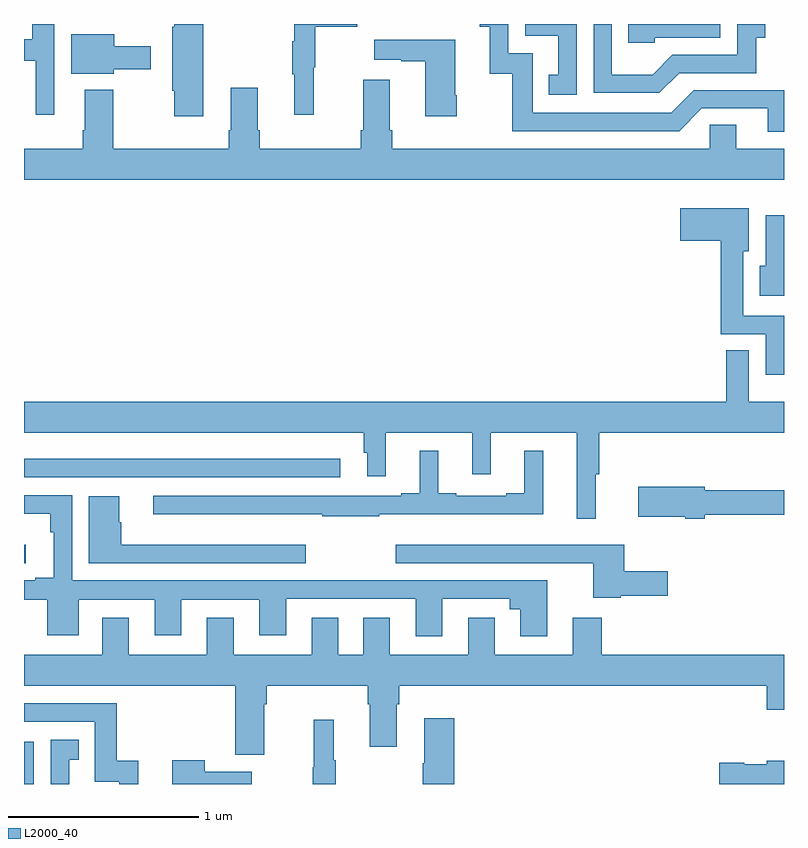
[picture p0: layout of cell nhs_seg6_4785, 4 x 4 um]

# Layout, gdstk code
import gdstk
lib = gdstk.Library(unit=1e-6, precision=1e-09)
def R(c, l, rs):  # rectangles x0, y0, x1, y1
    for r in rs: c.add(gdstk.rectangle(r[:2], r[2:], *l))
def P(c, l, *ps):  # polygons
    for p in ps: c.add(gdstk.Polygon(p, *l))
L2000_40 = (2000, 40)

nhs_seg6_4785 = lib.new_cell('nhs_seg6_4785')
R(nhs_seg6_4785, L2000_40, [(395,933.5,395.052,933.723), (395,934.662,395.008,934.759), (395,935.115,396.664,935.212)])
P(nhs_seg6_4785, L2000_40, [(396.524,937.272),(396.532,937.272),(396.532,937.486),(396.755,937.486),(396.755,937.5),(396.422,937.5),(396.422,937.409),(396.411,937.409),(396.411,937.235),(396.422,937.235),(396.422,937.023),(396.524,937.023)],
  [(395.16,937.5),(395.044,937.5),(395.044,937.42),(395,937.42),(395,937.307),(395.063,937.307),(395.063,937.023),(395.16,937.023)],
  [(398.319,937.428),(398.664,937.428),(398.664,937.5),(398.179,937.5),(398.179,937.401),(398.319,937.401)],
  [(397.908,937.5),(397.638,937.5),(397.638,937.437),(397.811,937.437),(397.811,937.233),(397.762,937.233),(397.762,937.128),(397.908,937.128)],
  [(395.944,937.5),(395.791,937.5),(395.791,937.485),(395.78,937.485),(395.78,937.149),(395.791,937.149),(395.791,937.014),(395.944,937.014)],
  [(399,937.152),(398.526,937.152),(398.406,937.032),(397.677,937.032),(397.677,937.347),(397.548,937.347),(397.548,937.5),(397.398,937.5),(397.398,937.485),(397.451,937.485),(397.451,937.239),(397.569,937.239),(397.569,936.936),(398.448,936.936),(398.568,937.056),(398.915,937.056),(398.915,936.933),(399,936.933)],
  [(398.449,937.242),(398.853,937.242),(398.853,937.427),(398.902,937.427),(398.902,937.5),(398.754,937.5),(398.754,937.338),(398.412,937.338),(398.308,937.234),(398.094,937.234),(398.094,937.5),(397.998,937.5),(397.998,937.137),(398.344,937.137)],
  [(395.472,937.262),(395.668,937.262),(395.668,937.384),(395.476,937.384),(395.476,937.447),(395.249,937.447),(395.249,937.238),(395.472,937.238)],
  [(397.278,937.126),(397.27,937.126),(397.27,937.417),(396.843,937.417),(396.843,937.313),(396.986,937.313),(396.986,937.303),(397.112,937.303),(397.112,937.014),(397.278,937.014)],
  [(399,936.844),(398.749,936.844),(398.749,936.971),(398.61,936.971),(398.61,936.844),(396.938,936.844),(396.938,936.94),(396.925,936.94),(396.925,937.207),(396.785,937.207),(396.785,936.94),(396.773,936.94),(396.773,936.844),(396.242,936.844),(396.242,936.94),(396.229,936.94),(396.229,937.165),(396.089,937.165),(396.089,936.94),(396.077,936.94),(396.077,936.844),(395.469,936.844),(395.469,937.153),(395.321,937.153),(395.321,936.94),(395.309,936.94),(395.309,936.844),(395,936.844),(395,936.68),(399,936.68)],
  [(399,935.964),(398.785,935.964),(398.785,936.305),(398.815,936.305),(398.815,936.529),(398.454,936.529),(398.454,936.359),(398.667,936.359),(398.667,935.868),(398.904,935.868),(398.904,935.654),(399,935.654)],
  [(399,936.494),(398.904,936.494),(398.904,936.228),(398.873,936.228),(398.873,936.069),(399,936.069)],
  [(398.01,935.13),(398.027,935.13),(398.027,935.348),(399,935.348),(399,935.512),(398.815,935.512),(398.815,935.783),(398.697,935.783),(398.697,935.512),(395,935.512),(395,935.348),(396.787,935.348),(396.787,935.243),(396.806,935.243),(396.806,935.121),(396.905,935.121),(396.905,935.348),(397.358,935.348),(397.358,935.13),(397.457,935.13),(397.457,935.348),(397.91,935.348),(397.91,934.896),(398.01,934.896)],
  [(396.869,934.919),(397.733,934.919),(397.733,935.254),(397.634,935.254),(397.634,935.029),(397.538,935.029),(397.538,935.016),(397.276,935.016),(397.276,935.029),(397.181,935.029),(397.181,935.254),(397.082,935.254),(397.082,935.029),(396.986,935.029),(396.986,935.016),(395.679,935.016),(395.679,934.919),(396.571,934.919),(396.571,934.908),(396.869,934.908)],
  [(398.584,934.918),(399,934.918),(399,935.047),(398.584,935.047),(398.584,935.065),(398.232,935.065),(398.232,934.907),(398.48,934.907),(398.48,934.895),(398.584,934.895)],
  [(397.201,934.476),(397.556,934.476),(397.556,934.421),(397.613,934.421),(397.613,934.278),(397.753,934.278),(397.753,934.572),(395.253,934.572),(395.253,935.019),(395,935.019),(395,934.922),(395.137,934.922),(395.137,934.826),(395.156,934.826),(395.156,934.585),(395.06,934.585),(395.06,934.572),(395,934.572),(395,934.471),(395.123,934.471),(395.123,934.284),(395.287,934.284),(395.287,934.471),(395.687,934.471),(395.687,934.284),(395.827,934.284),(395.827,934.471),(396.239,934.471),(396.239,934.284),(396.379,934.284),(396.379,934.476),(397.061,934.476),(397.061,934.278),(397.201,934.278)],
  [(396.484,934.759),(395.513,934.759),(395.513,934.878),(395.5,934.878),(395.5,935.014),(395.342,935.014),(395.342,934.662),(396.484,934.662)],
  [(398.142,934.492),(398.389,934.492),(398.389,934.621),(398.159,934.621),(398.159,934.759),(396.957,934.759),(396.957,934.662),(397.997,934.662),(397.997,934.481),(398.142,934.481)],
  [(396.925,934.375),(396.785,934.375),(396.785,934.18),(396.655,934.18),(396.655,934.375),(396.515,934.375),(396.515,934.18),(396.103,934.18),(396.103,934.375),(395.963,934.375),(395.963,934.18),(395.551,934.18),(395.551,934.375),(395.411,934.375),(395.411,934.18),(395,934.18),(395,934.016),(396.113,934.016),(396.113,933.654),(396.265,933.654),(396.265,933.92),(396.278,933.92),(396.278,934.016),(396.809,934.016),(396.809,933.92),(396.821,933.92),(396.821,933.696),(396.961,933.696),(396.961,933.92),(396.974,933.92),(396.974,934.016),(398.909,934.016),(398.909,933.892),(399,933.892),(399,934.18),(398.042,934.18),(398.042,934.375),(397.889,934.375),(397.889,934.18),(397.477,934.18),(397.477,934.375),(397.337,934.375),(397.337,934.18),(396.925,934.18)],
  [(395.6,933.622),(395.489,933.622),(395.489,933.924),(395,933.924),(395,933.828),(395.373,933.828),(395.373,933.513),(395.502,933.513),(395.502,933.5),(395.6,933.5)],
  [(397.265,933.847),(397.106,933.847),(397.106,933.608),(397.099,933.608),(397.099,933.5),(397.265,933.5)],
  [(396.64,933.625),(396.629,933.625),(396.629,933.838),(396.526,933.838),(396.526,933.588),(396.519,933.588),(396.519,933.5),(396.64,933.5)],
  [(395.239,933.627),(395.288,933.627),(395.288,933.733),(395.142,933.733),(395.142,933.5),(395.239,933.5)],
  [(396.199,933.565),(395.951,933.565),(395.951,933.625),(395.78,933.625),(395.78,933.5),(396.199,933.5)],
  [(399,933.622),(398.91,933.622),(398.91,933.604),(398.79,933.604),(398.79,933.612),(398.658,933.612),(398.658,933.5),(399,933.5)])

lib.write_gds('nhs_seg6_4785.gds')
